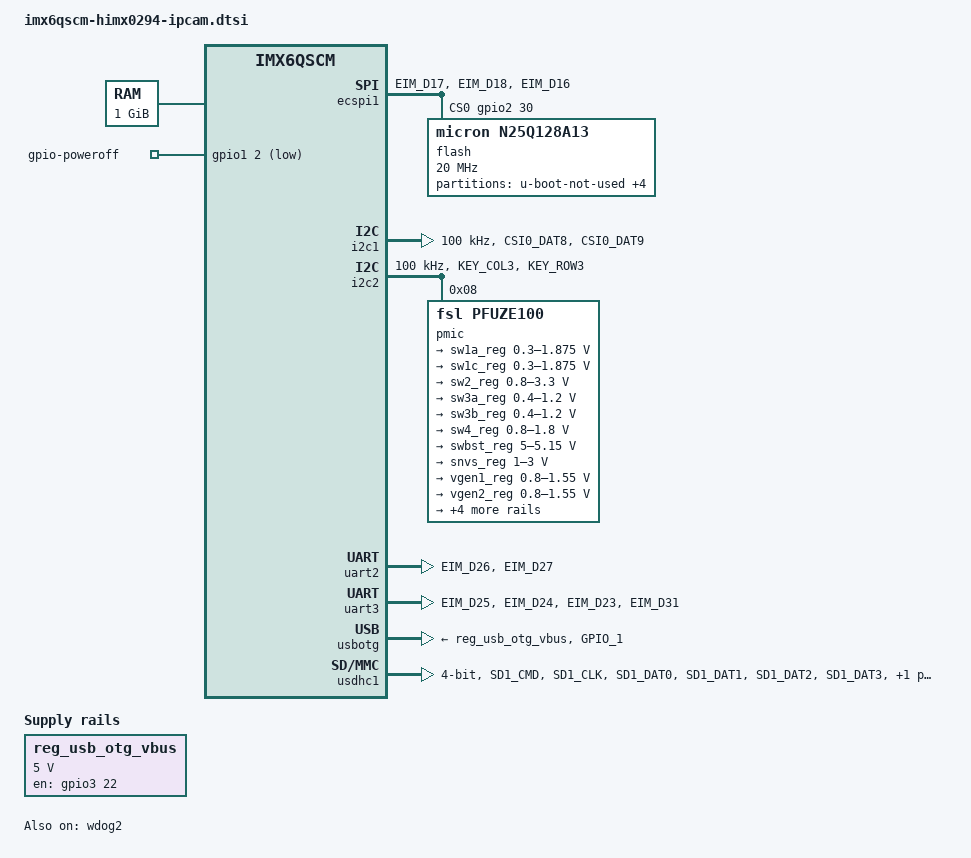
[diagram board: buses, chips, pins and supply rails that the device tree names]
/*
 * Copyright 2012 Freescale Semiconductor, Inc.
 * Copyright 2011 Linaro Ltd.
 *
 * The code contained herein is licensed under the GNU General Public
 * License. You may obtain a copy of the GNU General Public License
 * Version 2 or later at the following locations:
 *
 * http://www.opensource.org/licenses/gpl-license.html
 * http://www.gnu.org/copyleft/gpl.html
 */

#include <dt-bindings/input/input.h>
#include <dt-bindings/gpio/gpio.h>

/ {
        soc {
            busfreq {
                status = "disabled";
            };
        };

	memory: memory {
		reg = <0x10000000 0x40000000>;
	};

	regulators {
		compatible = "simple-bus";
		#address-cells = <1>;
		#size-cells = <0>;

		reg_usb_otg_vbus: regulator@0 {
			compatible = "regulator-fixed";
			reg = <0>;
			regulator-name = "usb_otg_vbus";
			regulator-min-microvolt = <5000000>;
			regulator-max-microvolt = <5000000>;
			gpio = <&gpio3 22 0>;
			enable-active-high;
		};
	};

	v4l2_out {
		compatible = "fsl,mxc_v4l2_output";
		status = "okay";
	};

	gpio-poweroff {
		compatible = "gpio-poweroff";
		gpios = <&gpio1 2 GPIO_ACTIVE_LOW>;
	};
};

&cpu0 {
	arm-supply = <&sw1a_reg>;
	soc-supply = <&sw1c_reg>;
};

&clks {
	fsl,ldb-di0-parent = <&clks IMX6QDL_CLK_PLL2_PFD0_352M>;
	fsl,ldb-di1-parent = <&clks IMX6QDL_CLK_PLL2_PFD0_352M>;
};

&ecspi1 {
        fsl,spi-num-chipselects = <1>;
        cs-gpios = <&gpio2 30 0>;
        pinctrl-names = "default";
        pinctrl-0 = <&pinctrl_ecspi1>;
        status = "okay";
        flash: m25p80@0 {
                #address-cells = <1>;
                #size-cells = <1>;
                compatible = "micron,n25q128a13";
                spi-max-frequency = <20000000>;
                reg = <0>;

                partition@0 {
                        reg = <0x0 0xc0000>;
                        label = "u-boot-not-used";
                };
                partition@c0000 {
                        reg = <0xc0000 0x20000>;
                        label = "u-boot-env-not-used";
                };
                partition@e0000 {
                        reg = <0xe0000 0x10000>;
                        label = "production";
                };
                partition@f0000 {
                        reg = <0xf0000 0x10000>;
                        label = "devid";
                };
                partition@100000 {
                        reg = <0x100000 0xF00000>;
                        label = "spare";
                };
        };
};

&i2c1 {
	clock-frequency = <100000>;
	pinctrl-names = "default";
	pinctrl-0 = <&pinctrl_i2c1>;
	status = "okay";
};

&i2c2 {
	clock-frequency = <100000>;
	pinctrl-names = "default";
	pinctrl-0 = <&pinctrl_i2c2>;
	status = "okay";

        pmic: pfuze100@08 {
                compatible = "fsl,pfuze100";
                reg = <0x08>;
                regulators {
                        sw1a_reg: sw1ab {
                                regulator-min-microvolt = <300000>;
                                regulator-max-microvolt = <1875000>;
                                regulator-boot-on;
                                regulator-always-on;
                                regulator-ramp-delay = <6250>;
                        };

                        sw1c_reg: sw1c {
                                regulator-min-microvolt = <300000>;
                                regulator-max-microvolt = <1875000>;
                                regulator-boot-on;
                                regulator-always-on;
                                regulator-ramp-delay = <6250>;
                        };

                        sw2_reg: sw2 {
                                regulator-min-microvolt = <800000>;
                                regulator-max-microvolt = <3300000>;
                                regulator-boot-on;
                                regulator-always-on;
                        };

                        sw3a_reg: sw3a {
                                regulator-min-microvolt = <400000>;
                                regulator-max-microvolt = <1200000>;
                                regulator-boot-on;
                                regulator-always-on;
                        };

                        sw3b_reg: sw3b {
                                regulator-min-microvolt = <400000>;
                                regulator-max-microvolt = <1200000>;
                                regulator-boot-on;
                                regulator-always-on;
                        };

                        sw4_reg: sw4 {
                                regulator-min-microvolt = <800000>;
                                regulator-max-microvolt = <1800000>;
                                regulator-boot-on;
                                regulator-always-on;

                        };

                        swbst_reg: swbst {
                                regulator-min-microvolt = <5000000>;
                                regulator-max-microvolt = <5150000>;
                                regulator-boot-on;
                                regulator-always-on;

                        };

                        snvs_reg: vsnvs {
                                regulator-min-microvolt = <1000000>;
                                regulator-max-microvolt = <3000000>;
                                regulator-boot-on;
                                regulator-always-on;
                        };

                        vref_reg: vrefddr {
                                regulator-boot-on;
                                regulator-always-on;
                        };

                        vgen1_reg: vgen1 {
                                regulator-min-microvolt = <800000>;
                                regulator-max-microvolt = <1550000>;
                                regulator-always-on;
                        };

                        vgen2_reg: vgen2 {
                                regulator-min-microvolt = <800000>;
                                regulator-max-microvolt = <1550000>;
                                regulator-always-on;
                        };

                        vgen3_reg: vgen3 {
                                regulator-min-microvolt = <1800000>;
                                regulator-max-microvolt = <2800000>;
                                regulator-always-on;
                        };

                        vgen4_reg: vgen4 {
                                regulator-min-microvolt = <1800000>;
                                regulator-max-microvolt = <2800000>;
                                regulator-always-on;
                        };

                        vgen5_reg: vgen5 {
                                regulator-min-microvolt = <1800000>;
                                regulator-max-microvolt = <3300000>;
                                regulator-always-on;
                        };

                        vgen6_reg: vgen6 {
                                regulator-min-microvolt = <1800000>;
                                regulator-max-microvolt = <3150000>;
                                regulator-always-on;
                        };
                };
        };
};

&iomuxc {
	pinctrl-names = "default";
	pinctrl-0 = <&pinctrl_hog>;

	imx6qdl-sabresd {
		pinctrl_hog: hoggrp {
			fsl,pins = <

				MX6QDL_PAD_NANDF_D0__GPIO2_IO00 0x80000000
				MX6QDL_PAD_NANDF_CS1__GPIO6_IO14 0x80000000
				MX6QDL_PAD_NANDF_CS2__GPIO6_IO15 0x80000000
				MX6QDL_PAD_KEY_COL2__GPIO4_IO10 0x80000000
				MX6QDL_PAD_EIM_EB2__GPIO2_IO30 0x80000000
				MX6QDL_PAD_EIM_D22__GPIO3_IO22  0x80000000
				
/*
				MX6QDL_PAD_NANDF_D0__GPIO2_IO00 0x80000000
				MX6QDL_PAD_NANDF_D1__GPIO2_IO01 0x80000000
				//MX6QDL_PAD_GPIO_0__CCM_CLKO1    0x130b0
				MX6QDL_PAD_NANDF_CLE__GPIO6_IO07 0x80000000
				MX6QDL_PAD_NANDF_ALE__GPIO6_IO08 0x80000000
				MX6QDL_PAD_ENET_TXD1__GPIO1_IO29 0x80000000
				MX6QDL_PAD_EIM_D22__GPIO3_IO22  0x80000000
				MX6QDL_PAD_ENET_CRS_DV__GPIO1_IO25 0x80000000
				MX6QDL_PAD_EIM_D26__GPIO3_IO26 0x80000000
				MX6QDL_PAD_EIM_CS1__GPIO2_IO24 0x80000000
				MX6QDL_PAD_ENET_RXD0__GPIO1_IO27 0x80000000
				MX6QDL_PAD_EIM_A25__GPIO5_IO02 0x80000000
				MX6QDL_PAD_EIM_D23__GPIO3_IO23 0x80000000
				MX6QDL_PAD_EIM_EB3__GPIO2_IO31 0x80000000
				MX6QDL_PAD_SD3_RST__GPIO7_IO08	0x80000000
				MX6QDL_PAD_GPIO_9__GPIO1_IO09 	0x80000000
				MX6QDL_PAD_EIM_DA9__GPIO3_IO09 0x80000000
				MX6QDL_PAD_SD1_DAT3__WDOG2_B 0x80000000
				MX6QDL_PAD_NANDF_CS0__GPIO6_IO11 0x80000000
				//MX6QDL_PAD_NANDF_CS1__GPIO6_IO14 0x80000000
				MX6QDL_PAD_NANDF_CS2__GPIO6_IO15 0x80000000
				MX6QDL_PAD_GPIO_4__GPIO1_IO04   0x80000000
				MX6QDL_PAD_GPIO_2__GPIO1_IO02   0x80000000
				MX6QDL_PAD_EIM_EB2__GPIO2_IO30 0x80000000
				MX6QDL_PAD_NANDF_CS0__GPIO6_IO11 0x80000000
				//TOUCH RESET
				MX6QDL_PAD_KEY_COL2__GPIO4_IO10 0x80000000
				//TOUCH_INTERRUPT
				MX6QDL_PAD_NANDF_CS1__GPIO6_IO14 0x80000000
			
//				//camera
//				MX6QDL_PAD_GPIO_0__GPIO1_IO00  		  0x10881 //0x13059//0x10881   
				//MX6QDL_PAD_CSI0_DAT19__GPIO6_IO05       0x80000000//0x17059//0x10881
*/
			>;
		};

		pinctrl_ecspi1: ecspi1grp {
			fsl,pins = <
				MX6QDL_PAD_EIM_D17__ECSPI1_MISO 0x100b1
				MX6QDL_PAD_EIM_D18__ECSPI1_MOSI 0x100b1
				MX6QDL_PAD_EIM_D16__ECSPI1_SCLK 0x100b1
			>;
		};

		pinctrl_i2c1: i2c1grp {
			fsl,pins = <
				MX6QDL_PAD_CSI0_DAT8__I2C1_SDA		0x4001b8b1
				MX6QDL_PAD_CSI0_DAT9__I2C1_SCL		0x4001b8b1
			>;
		};

		pinctrl_i2c2: i2c2grp {
			fsl,pins = <
				MX6QDL_PAD_KEY_COL3__I2C2_SCL		0x4001b8b1
				MX6QDL_PAD_KEY_ROW3__I2C2_SDA		0x4001b8b1
			 >;
		};

		pinctrl_i2c3: i2c3grp {
			fsl,pins = <
				MX6QDL_PAD_GPIO_3__I2C3_SCL		0x4001b8b1
				MX6QDL_PAD_GPIO_6__I2C3_SDA		0x4001b8b1
			>;
		};

#if 0
		pinctrl_pwm4: pwm4grp {
                        fsl,pins = <
                                MX6QDL_PAD_SD1_CMD__PWM4_OUT            0x1b0b1
                        >;
                };
#endif

		pinctrl_uart1: uart1grp {
			fsl,pins = <
				MX6QDL_PAD_CSI0_DAT10__UART1_TX_DATA	0x1b0b1
				MX6QDL_PAD_CSI0_DAT11__UART1_RX_DATA	0x1b0b1
			>;
		};

		pinctrl_uart2: uart2grp {
			fsl,pins = <
				MX6QDL_PAD_EIM_D26__UART2_TX_DATA 0x1b0b1
				MX6QDL_PAD_EIM_D27__UART2_RX_DATA 0x1b0b1
			>;
		};

		pinctrl_uart3: uart3grp {
			fsl,pins = <
				MX6QDL_PAD_EIM_D25__UART3_RX_DATA 0x1b0b1
				MX6QDL_PAD_EIM_D24__UART3_TX_DATA 0x1b0b1
				MX6QDL_PAD_EIM_D23__UART3_CTS_B   0x1b0b1
				MX6QDL_PAD_EIM_D31__UART3_RTS_B   0x1b0b1
			>;
		};

		pinctrl_usbotg: usbotggrp {
			fsl,pins = <
				MX6QDL_PAD_GPIO_1__USB_OTG_ID		0x17059
			>;
		};

		pinctrl_usdhc1: usdhc1grp {
			fsl,pins = <
				MX6QDL_PAD_SD1_CMD__SD1_CMD		0x17059
				MX6QDL_PAD_SD1_CLK__SD1_CLK		0x10059
				MX6QDL_PAD_SD1_DAT0__SD1_DATA0		0x17059
				MX6QDL_PAD_SD1_DAT1__SD1_DATA1		0x17059
				MX6QDL_PAD_SD1_DAT2__SD1_DATA2		0x17059
				MX6QDL_PAD_SD1_DAT3__SD1_DATA3		0x17059
			>;
		};

		pinctrl_usdhc2: usdhc2grp {
			fsl,pins = <
				MX6QDL_PAD_SD2_CMD__SD2_CMD		0x17059
				MX6QDL_PAD_SD2_CLK__SD2_CLK		0x10059
				MX6QDL_PAD_SD2_DAT0__SD2_DATA0		0x17059
				MX6QDL_PAD_SD2_DAT1__SD2_DATA1		0x17059
				MX6QDL_PAD_SD2_DAT2__SD2_DATA2		0x17059
				MX6QDL_PAD_SD2_DAT3__SD2_DATA3		0x17059
			>;
		};

		pinctrl_usdhc3: usdhc3grp {
			fsl,pins = <
				MX6QDL_PAD_SD3_CMD__SD3_CMD		0x17059
				MX6QDL_PAD_SD3_CLK__SD3_CLK		0x10059
				MX6QDL_PAD_SD3_DAT0__SD3_DATA0		0x17059
				MX6QDL_PAD_SD3_DAT1__SD3_DATA1		0x17059
				MX6QDL_PAD_SD3_DAT2__SD3_DATA2		0x17059
				MX6QDL_PAD_SD3_DAT3__SD3_DATA3		0x17059
			>;
		};

		pinctrl_wdog: wdoggrp {
			fsl,pins = <
				MX6QDL_PAD_DISP0_DAT9__WDOG2_B		0x80000000
			>;
		};

	};
};

&gpc {
	/* use ldo-bypass, u-boot will check it and configure */
	fsl,ldo-bypass = <1>;
	fsl,wdog-reset = <2>;
};

#if 0
&pwm4 {
        pinctrl-names = "default";
        pinctrl-0 = <&pinctrl_pwm4>;
        status = "okay";
};
#endif

&uart2 {
	pinctrl-names = "default";
	pinctrl-0 = <&pinctrl_uart2>;
	status = "okay";
};

&uart3 {
	pinctrl-names = "default";
	pinctrl-0 = <&pinctrl_uart3>;
	fsl,uart-has-rtscts;
	status = "okay";
};

&usbotg {
	vbus-supply = <&reg_usb_otg_vbus>;
	pinctrl-names = "default";
	pinctrl-0 = <&pinctrl_usbotg>;
	disable-over-current;
	srp-disable;
	hnp-disable;
	adp-disable;
	status = "okay";
};

&usdhc1 {
	pinctrl-names = "default";
	pinctrl-0 = <&pinctrl_usdhc1>;
        bus-width = <4>;
	cd-gpios = <&gpio1 3 GPIO_ACTIVE_LOW>;
#if 0
	cd-inverted;
#endif
        no-1-8-v;
	status = "okay";
};

&wdog1 {
	status = "disabled";
};

&wdog2 {
	pinctrl-names = "default";
	pinctrl-0 = <&pinctrl_wdog>;
	fsl,wdog_b;
	status = "okay";
};
